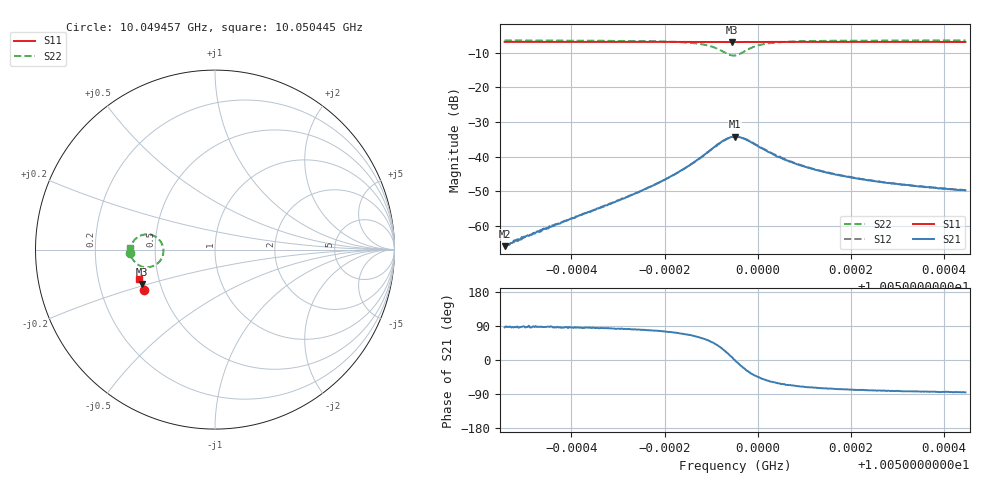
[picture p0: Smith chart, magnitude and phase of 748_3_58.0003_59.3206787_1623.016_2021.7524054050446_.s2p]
#  HZ  S  RI  R  50.00
! Rohde & Schwarz Vector Network Analyzer
! Rohde-Schwarz,ZNB20-2Port,1311601062101988,3.16
! Created: UTC 3/21/2024, 1:23:53 AM
! freq[Hz]  re:S11  im:S11  re:S21  im:S21  re:S12  im:S12  re:S22  im:S22
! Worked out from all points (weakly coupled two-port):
!   401 points, 10.049457 GHz to 10.050445 GHz, reference 50 ohm
!   highest |S21| = -34.19 dB at 10.049951 GHz (marker M1); lowest = -65.8 dB at 10.049457 GHz (marker M2)
!   lowest |S11| = -6.9 dB at 10.049944 GHz (marker M3), VSWR 2.64, Z = 19.7 - j9.57 ohm
!   |S11| at or under -10 dB: nowhere
!   |S22| runs from -10.8 to -6.5 dB; largest |S21 - S12| = 0.0019
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1.00494569e10  -0.3956 -0.2226  3.47e-05 0.00051  5.05e-06 0.000525  -0.474 -0.0164
1.00494718e10  -0.3959 -0.2217  4.3e-05 0.000567  -6.68e-06 0.000567  -0.4739 -0.0149
1.00494816e10  -0.3962 -0.2211  4.09e-05 0.000624  -2.04e-06 0.000612  -0.4737 -0.0138
1.00495385e10  -0.3979 -0.2176  4.91e-05 0.000878  6.31e-06 0.000905  -0.4733 -0.00765
1.00496225e10  -0.4004 -0.2127  0.000128 0.00145  5.12e-05 0.00146  -0.4717 0.00344
1.00497164e10  -0.4033 -0.2069  0.000361 0.00254  0.000198 0.0026  -0.4678 0.0197
1.00497881e10  -0.4053 -0.2026  0.000964 0.00413  0.00074 0.00414  -0.4594 0.0384
1.004984e10  -0.4064 -0.1992  0.00237 0.00613  0.00199 0.00623  -0.4434 0.0591
1.00498845e10  -0.4074 -0.1963  0.00588 0.00872  0.00531 0.00899  -0.4059 0.0814
1.00499191e10  -0.4077 -0.1939  0.0131 0.00887  0.0123 0.00968  -0.3378 0.0755
1.00499314e10  -0.4075 -0.1934  0.0165 0.00678  0.0158 0.00781  -0.3084 0.052
1.00499438e10  -0.4075 -0.1931  0.0189 0.00275  0.0186 0.00434  -0.2892 0.0123
1.00499512e10  -0.4076 -0.1929  0.0195 -0.0003  0.0194 0.00123  -0.2877 -0.0159
1.00499636e10  -0.4079 -0.1927  0.0183 -0.00492  0.0188 -0.00342  -0.3034 -0.0589
1.00499784e10  -0.4086 -0.1922  0.015 -0.00837  0.0158 -0.00729  -0.3395 -0.0895
1.00499957e10  -0.4096 -0.1915  0.0111 -0.00983  0.0119 -0.00918  -0.3806 -0.0987
1.0050013e10  -0.4103 -0.1905  0.00802 -0.0099  0.00885 -0.00946  -0.4103 -0.0935
1.00500575e10  -0.4119 -0.1877  0.00403 -0.00818  0.00449 -0.00814  -0.4477 -0.0682
1.00501168e10  -0.4135 -0.1841  0.00202 -0.00637  0.00241 -0.0063  -0.4643 -0.0435
1.0050186e10  -0.4154 -0.1796  0.00114 -0.0051  0.00144 -0.00507  -0.4708 -0.0252
1.00502824e10  -0.4179 -0.1737  0.000629 -0.00412  0.000868 -0.00409  -0.4738 -0.0085
1.00504455e10  -0.4216 -0.1636  0.000262 -0.00327  0.000461 -0.00327  -0.4748 0.011
